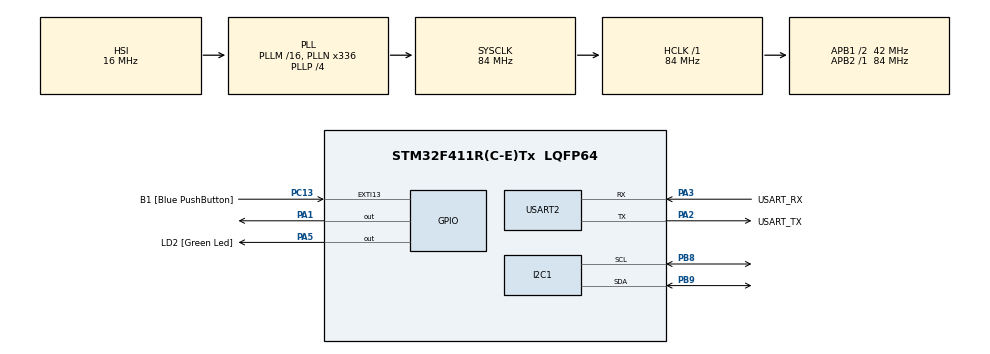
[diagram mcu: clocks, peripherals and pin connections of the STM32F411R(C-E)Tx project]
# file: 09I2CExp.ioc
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I2C1.I2C_Mode=I2C_Fast
Mcu.Family=STM32F4
Mcu.Name=STM32F411R(C-E)Tx
Mcu.Package=LQFP64
NVIC.EXTI15_10_IRQn=true\:0\:0\:false\:false\:true\:true\:true\:true
NVIC.I2C1_ER_IRQn=true\:0\:0\:false\:false\:true\:true\:true\:true
NVIC.I2C1_EV_IRQn=true\:0\:0\:false\:false\:true\:true\:true\:true
NVIC.PriorityGroup=NVIC_PRIORITYGROUP_0
PA1.Signal=GPIO_Output
PA13.GPIO_Label=TMS
PA13.Mode=Serial_Wire
PA13.Signal=SYS_JTMS-SWDIO
PA14.GPIO_Label=TCK
PA14.Mode=Serial_Wire
PA14.Signal=SYS_JTCK-SWCLK
PA2.GPIO_Label=USART_TX
PA2.Mode=Asynchronous
PA2.Signal=USART2_TX
PA3.GPIO_Label=USART_RX
PA3.Mode=Asynchronous
PA3.Signal=USART2_RX
PA5.GPIO_Label=LD2 [Green Led]
PA5.Signal=GPIO_Output
PB3.GPIO_Label=SWO
PB3.Signal=SYS_JTDO-SWO
PB8.Mode=I2C
PB8.Signal=I2C1_SCL
PB9.Mode=I2C
PB9.Signal=I2C1_SDA
PC13-ANTI_TAMP.GPIO_Label=B1 [Blue PushButton]
PC13-ANTI_TAMP.GPIO_ModeDefaultEXTI=GPIO_MODE_IT_FALLING
PC13-ANTI_TAMP.Signal=GPXTI13
PC14-OSC32_IN.Mode=LSE-External-Oscillator
PC14-OSC32_IN.Signal=RCC_OSC32_IN
PC15-OSC32_OUT.Mode=LSE-External-Oscillator
PC15-OSC32_OUT.Signal=RCC_OSC32_OUT
PH0\ -\ OSC_IN.Mode=HSE-External-Clock-Source
PH0\ -\ OSC_IN.Signal=RCC_OSC_IN
PH1\ -\ OSC_OUT.Mode=HSE-External-Clock-Source
PH1\ -\ OSC_OUT.Signal=RCC_OSC_OUT
ProjectManager.HeapSize=0x200
ProjectManager.StackSize=0x400
ProjectManager.TargetToolchain=STM32CubeIDE
RCC.48MHZClocksFreq_Value=84000000
RCC.AHBFreq_Value=84000000
RCC.APB1CLKDivider=RCC_HCLK_DIV2
RCC.APB1Freq_Value=42000000
RCC.APB1TimFreq_Value=84000000
RCC.APB2Freq_Value=84000000
RCC.APB2TimFreq_Value=84000000
RCC.CortexFreq_Value=84000000
RCC.FLatency-AdvancedSettings=FLASH_LATENCY_2
RCC.HCLKFreq_Value=84000000
RCC.HSE_VALUE=8000000
RCC.HSI_VALUE=16000000
RCC.PLLN=336
RCC.PLLP=RCC_PLLP_DIV4
RCC.SYSCLKFreq_VALUE=84000000
RCC.SYSCLKSource=RCC_SYSCLKSOURCE_PLLCLK
RCC.VCOOutputFreq_Value=336000000
USART2.VirtualMode=VM_ASYNC
board=NUCLEO-F411RE

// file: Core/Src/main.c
/* USER CODE BEGIN Header */
/**
  ******************************************************************************
  * @file           : main.c
  * @brief          : Main program body
  ******************************************************************************
  * @attention
  *
  * Copyright (c) 2022 STMicroelectronics.
  * All rights reserved.
  *
  * This software is licensed under terms that can be found in the LICENSE file
  * in the root directory of this software component.
  * If no LICENSE file comes with this software, it is provided AS-IS.
  *
  ******************************************************************************
  */
/* USER CODE END Header */
#include "main.h"

/* USER CODE BEGIN PD */
#define EEPROM_ADDR 0b10100000
#define IOEXPD_ADDR 0b01000000
/* USER CODE END PD */

 I2C_HandleTypeDef hi2c1;

UART_HandleTypeDef huart2;

/* USER CODE BEGIN PV */
uint8_t eepromExampleWriteFlag = 0;
uint8_t eepromWritefromeepromFlag = 0;

uint8_t eepromExampleReadFlag = 0;
uint8_t IOExpdrExampleWriteFlag = 0;
uint8_t IOExpdrExampleReadFlag = 0;
uint8_t eepromDataReadBack[4];
uint8_t eepromDataReadsave[4];
uint8_t IOExpdrDataReadBack;
uint8_t IOExpdrDataWrite = 0b01010101;

uint8_t IOExpdrexpWriteFlag=0;

int16_t canwrite = 0;
int16_t couter = 0 ;

/* USER CODE END PV */

void SystemClock_Config(void);
static void MX_GPIO_Init(void);
static void MX_USART2_UART_Init(void);
static void MX_I2C1_Init(void);
/* USER CODE BEGIN PFP */

void EEPROMWritefromeeprom();
void EEPROMWriteExample();
void EEPROMReadExample(uint8_t *Rdata, uint16_t len);

void IOExpenderInit();
void IOExpenderReadPinA(uint8_t *Rdata);
void IOExpenderWritePinB(uint8_t Wdata);

void int_exp();
void IOExpenderWriteexp(uint8_t Wdata);
/* USER CODE END PFP */

int main(void)
{

  /* MCU Configuration--------------------------------------------------------*/

  /* Reset of all peripherals, Initializes the Flash interface and the Systick. */
  HAL_Init();

  /* Configure the system clock */
  SystemClock_Config();

  /* Initialize all configured peripherals */
  MX_GPIO_Init();
  MX_USART2_UART_Init();
  MX_I2C1_Init();
  /* USER CODE BEGIN 2 */
  HAL_Delay(100);
  IOExpenderInit();
  /* USER CODE END 2 */

  /* Infinite loop */
  /* USER CODE BEGIN WHILE */
  int_exp();

  HAL_Delay(500);

  while (1)
  {
		EEPROMWriteExample();
		EEPROMReadExample(eepromDataReadBack, 4);
		IOExpenderReadPinA(&IOExpdrDataReadBack);
		IOExpenderWritePinB(IOExpdrDataWrite);

		IOExpenderWriteexp(IOExpdrDataReadBack << 4);
		EEPROMWritefromeeprom();
		if(canwrite && eepromExampleReadFlag == 0){
			HAL_Delay(100);
			eepromWritefromeepromFlag = 1;
			IOExpdrexpWriteFlag = 1;
			canwrite = 0;
		}

//		HAL_I2C_Master_Seq_Transmit_IT();
    /* USER CODE END WHILE */

  }
}

void SystemClock_Config(void)
{
  RCC_OscInitTypeDef RCC_OscInitStruct = {0};
  RCC_ClkInitTypeDef RCC_ClkInitStruct = {0};

  /** Configure the main internal regulator output voltage
  */
  __HAL_RCC_PWR_CLK_ENABLE();
  __HAL_PWR_VOLTAGESCALING_CONFIG(PWR_REGULATOR_VOLTAGE_SCALE1);

  /** Initializes the RCC Oscillators according to the specified parameters
  * in the RCC_OscInitTypeDef structure.
  */
  RCC_OscInitStruct.OscillatorType = RCC_OSCILLATORTYPE_HSI;
  RCC_OscInitStruct.HSIState = RCC_HSI_ON;
  RCC_OscInitStruct.HSICalibrationValue = RCC_HSICALIBRATION_DEFAULT;
  RCC_OscInitStruct.PLL.PLLState = RCC_PLL_ON;
  RCC_OscInitStruct.PLL.PLLSource = RCC_PLLSOURCE_HSI;
  RCC_OscInitStruct.PLL.PLLM = 16;
  RCC_OscInitStruct.PLL.PLLN = 336;
  RCC_OscInitStruct.PLL.PLLP = RCC_PLLP_DIV4;
  RCC_OscInitStruct.PLL.PLLQ = 4;
  if (HAL_RCC_OscConfig(&RCC_OscInitStruct) != HAL_OK)
  {
    Error_Handler();
  }

  /** Initializes the CPU, AHB and APB buses clocks
  */
  RCC_ClkInitStruct.ClockType = RCC_CLOCKTYPE_HCLK|RCC_CLOCKTYPE_SYSCLK
                              |RCC_CLOCKTYPE_PCLK1|RCC_CLOCKTYPE_PCLK2;
  RCC_ClkInitStruct.SYSCLKSource = RCC_SYSCLKSOURCE_PLLCLK;
  RCC_ClkInitStruct.AHBCLKDivider = RCC_SYSCLK_DIV1;
  RCC_ClkInitStruct.APB1CLKDivider = RCC_HCLK_DIV2;
  RCC_ClkInitStruct.APB2CLKDivider = RCC_HCLK_DIV1;

  if (HAL_RCC_ClockConfig(&RCC_ClkInitStruct, FLASH_LATENCY_2) != HAL_OK)
  {
    Error_Handler();
  }
}

static void MX_I2C1_Init(void)
{

  hi2c1.Instance = I2C1;
  hi2c1.Init.ClockSpeed = 400000;
  hi2c1.Init.DutyCycle = I2C_DUTYCYCLE_2;
  hi2c1.Init.OwnAddress1 = 0;
  hi2c1.Init.AddressingMode = I2C_ADDRESSINGMODE_7BIT;
  hi2c1.Init.DualAddressMode = I2C_DUALADDRESS_DISABLE;
  hi2c1.Init.OwnAddress2 = 0;
  hi2c1.Init.GeneralCallMode = I2C_GENERALCALL_DISABLE;
  hi2c1.Init.NoStretchMode = I2C_NOSTRETCH_DISABLE;
  if (HAL_I2C_Init(&hi2c1) != HAL_OK)
  {
    Error_Handler();
  }

}

static void MX_USART2_UART_Init(void)
{

  huart2.Instance = USART2;
  huart2.Init.BaudRate = 115200;
  huart2.Init.WordLength = UART_WORDLENGTH_8B;
  huart2.Init.StopBits = UART_STOPBITS_1;
  huart2.Init.Parity = UART_PARITY_NONE;
  huart2.Init.Mode = UART_MODE_TX_RX;
  huart2.Init.HwFlowCtl = UART_HWCONTROL_NONE;
  huart2.Init.OverSampling = UART_OVERSAMPLING_16;
  if (HAL_UART_Init(&huart2) != HAL_OK)
  {
    Error_Handler();
  }

}

static void MX_GPIO_Init(void)
{
  GPIO_InitTypeDef GPIO_InitStruct = {0};

  /* GPIO Ports Clock Enable */
  __HAL_RCC_GPIOC_CLK_ENABLE();
  __HAL_RCC_GPIOH_CLK_ENABLE();
  __HAL_RCC_GPIOA_CLK_ENABLE();
  __HAL_RCC_GPIOB_CLK_ENABLE();

  /*Configure GPIO pin Output Level */
  HAL_GPIO_WritePin(GPIOA, GPIO_PIN_1|LD2_Pin, GPIO_PIN_RESET);

  /*Configure GPIO pin : B1_Pin */
  GPIO_InitStruct.Pin = B1_Pin;
  GPIO_InitStruct.Mode = GPIO_MODE_IT_FALLING;
  GPIO_InitStruct.Pull = GPIO_NOPULL;
  HAL_GPIO_Init(B1_GPIO_Port, &GPIO_InitStruct);

  /*Configure GPIO pins : PA1 LD2_Pin */
  GPIO_InitStruct.Pin = GPIO_PIN_1|LD2_Pin;
  GPIO_InitStruct.Mode = GPIO_MODE_OUTPUT_PP;
  GPIO_InitStruct.Pull = GPIO_NOPULL;
  GPIO_InitStruct.Speed = GPIO_SPEED_FREQ_LOW;
  HAL_GPIO_Init(GPIOA, &GPIO_InitStruct);

  /* EXTI interrupt init*/
  HAL_NVIC_SetPriority(EXTI15_10_IRQn, 0, 0);
  HAL_NVIC_EnableIRQ(EXTI15_10_IRQn);

}

/* USER CODE BEGIN 4 */
void int_exp(){
	eepromExampleReadFlag= 1;
	IOExpdrexpWriteFlag = 1;
	EEPROMReadExample(eepromDataReadBack, 4);
	HAL_Delay(50);
//	eepromDataReadBack[0]
	IOExpenderWriteexp(eepromDataReadBack[0] << 4);

}
void EEPROMWriteExample() {
	if (eepromExampleWriteFlag && hi2c1.State == HAL_I2C_STATE_READY) {

		static uint8_t data[4] = { 0xff, 0x00, 0x55, 0xaa };
		HAL_I2C_Mem_Write_IT(&hi2c1, EEPROM_ADDR, 0x61, I2C_MEMADD_SIZE_16BIT,
				data, 4);

		eepromExampleWriteFlag = 0;
	}
}
void EEPROMWritefromeeprom() {
	if (eepromWritefromeepromFlag && hi2c1.State == HAL_I2C_STATE_READY) {

		HAL_I2C_Mem_Write_IT(&hi2c1, EEPROM_ADDR, 0x61, I2C_MEMADD_SIZE_16BIT,
				&IOExpdrDataReadBack, 1);

		eepromWritefromeepromFlag = 0;
	}
}

void EEPROMReadExample(uint8_t *Rdata, uint16_t len) {
	if (eepromExampleReadFlag && hi2c1.State == HAL_I2C_STATE_READY) {

		HAL_I2C_Mem_Read_IT(&hi2c1, EEPROM_ADDR, 0x61, I2C_MEMADD_SIZE_16BIT,
				Rdata, len);
		eepromExampleReadFlag = 0;
	}
}
void IOExpenderInit() {
	//Init All
	static uint8_t Setting[0x16] = { 0xFF, 0x00, 0x00, 0x00, 0x00, 0x00, 0x00,
			0x00, 0x00, 0x00, 0x00, 0x00, 0xFF, 0x00, 0x00, 0x00, 0x00, 0x00,
			0x00, 0x00, 0x00, 0x00 };
	HAL_I2C_Mem_Write(&hi2c1, IOEXPD_ADDR, 0x00, I2C_MEMADD_SIZE_8BIT, Setting,
			0x16, 100);
}
void IOExpenderReadPinA(uint8_t *Rdata) {
	if (IOExpdrExampleReadFlag && hi2c1.State == HAL_I2C_STATE_READY) {
		HAL_I2C_Mem_Read_IT(&hi2c1, IOEXPD_ADDR, 0x12, I2C_MEMADD_SIZE_8BIT,
				Rdata, 1);
		IOExpdrExampleReadFlag =0;
	}
}
void IOExpenderWritePinB(uint8_t Wdata) {
	if (IOExpdrExampleWriteFlag && hi2c1.State == HAL_I2C_STATE_READY) {
		static uint8_t data;
		data = Wdata;
		HAL_I2C_Mem_Write_IT(&hi2c1, IOEXPD_ADDR, 0x15, I2C_MEMADD_SIZE_8BIT,
				&data, 1);
		IOExpdrExampleWriteFlag=0;
	}
}

void IOExpenderWriteexp(uint8_t Wdata) {
	if (IOExpdrexpWriteFlag && hi2c1.State == HAL_I2C_STATE_READY) {
		static uint8_t data;
		data = Wdata;
		HAL_I2C_Mem_Write_IT(&hi2c1, IOEXPD_ADDR, 0x15, I2C_MEMADD_SIZE_8BIT,
				&data, 1);
		IOExpdrexpWriteFlag=0;
	}
}

void HAL_GPIO_EXTI_Callback(uint16_t GPIO_Pin){
	if(GPIO_Pin == GPIO_PIN_13){
        IOExpdrExampleReadFlag = 1;
		canwrite = 1;
	}
}

/* USER CODE END 4 */

void Error_Handler(void)
{
  __disable_irq();
  while (1)
  {
  }
}
